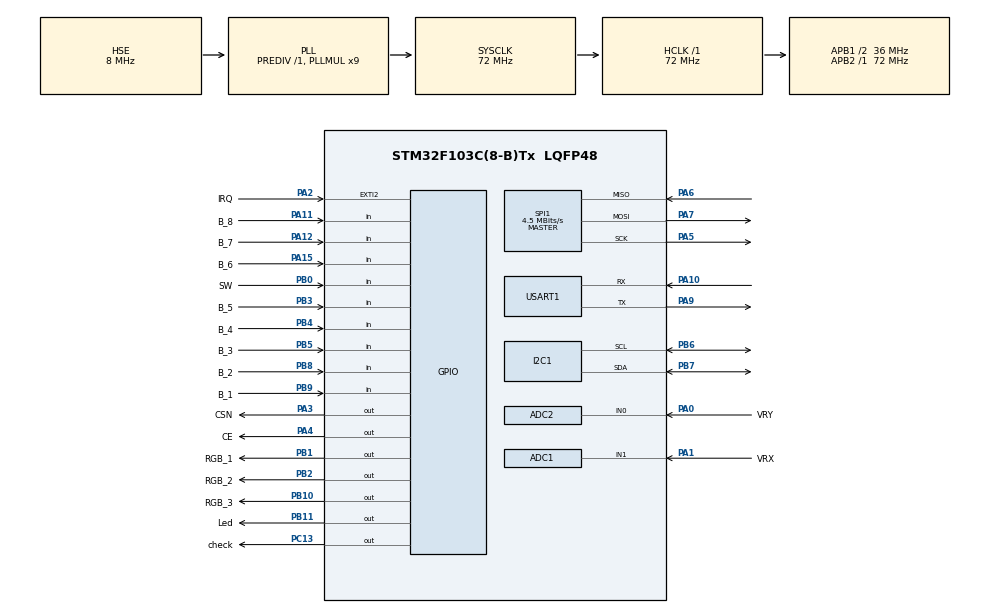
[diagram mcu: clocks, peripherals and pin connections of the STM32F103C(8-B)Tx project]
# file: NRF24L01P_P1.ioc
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ADC1.Channel-9\#ChannelRegularConversion=ADC_CHANNEL_1
ADC1.ContinuousConvMode=ENABLE
ADC1.EnableRegularConversion=ENABLE
ADC1.NbrOfConversionFlag=1
ADC1.Rank-9\#ChannelRegularConversion=1
ADC1.SamplingTime-9\#ChannelRegularConversion=ADC_SAMPLETIME_239CYCLES_5
ADC1.master=1
ADC2.Channel-0\#ChannelRegularConversion=ADC_CHANNEL_0
ADC2.NbrOfConversionFlag=1
ADC2.Rank-0\#ChannelRegularConversion=1
ADC2.SamplingTime-0\#ChannelRegularConversion=ADC_SAMPLETIME_239CYCLES_5
Mcu.Family=STM32F1
Mcu.Name=STM32F103C(8-B)Tx
Mcu.Package=LQFP48
NVIC.EXTI2_IRQn=true\:0\:0\:false\:false\:true\:true\:true\:true
NVIC.PriorityGroup=NVIC_PRIORITYGROUP_4
NVIC.USART1_IRQn=true\:0\:0\:false\:false\:true\:true\:true\:true
PA0-WKUP.GPIO_Label=VRY
PA0-WKUP.Signal=ADCx_IN0
PA1.GPIO_Label=VRX
PA1.Signal=ADCx_IN1
PA10.Mode=Asynchronous
PA10.Signal=USART1_RX
PA11.GPIO_Label=B_8
PA11.Signal=GPIO_Input
PA12.GPIO_Label=B_7
PA12.Signal=GPIO_Input
PA13.Mode=Serial_Wire
PA13.Signal=SYS_JTMS-SWDIO
PA14.Mode=Serial_Wire
PA14.Signal=SYS_JTCK-SWCLK
PA15.GPIO_Label=B_6
PA15.Signal=GPIO_Input
PA2.GPIO_Label=IRQ
PA2.GPIO_ModeDefaultEXTI=GPIO_MODE_IT_FALLING
PA2.GPIO_PuPd=GPIO_PULLUP
PA2.Signal=GPXTI2
PA3.GPIO_Label=CSN
PA3.GPIO_PuPd=GPIO_PULLUP
PA3.GPIO_Speed=GPIO_SPEED_FREQ_HIGH
PA3.PinState=GPIO_PIN_SET
PA3.Signal=GPIO_Output
PA4.GPIO_Label=CE
PA4.GPIO_PuPd=GPIO_PULLDOWN
PA4.GPIO_Speed=GPIO_SPEED_FREQ_HIGH
PA4.Signal=GPIO_Output
PA5.Mode=Full_Duplex_Master
PA5.Signal=SPI1_SCK
PA6.Mode=Full_Duplex_Master
PA6.Signal=SPI1_MISO
PA7.Mode=Full_Duplex_Master
PA7.Signal=SPI1_MOSI
PA9.Mode=Asynchronous
PA9.Signal=USART1_TX
PB0.GPIO_Label=SW
PB0.Signal=GPIO_Input
PB1.GPIO_Label=RGB_1
PB1.Signal=GPIO_Output
PB10.GPIO_Label=RGB_3
PB10.Signal=GPIO_Output
PB11.GPIO_Label=Led
PB11.Signal=GPIO_Output
PB2.GPIO_Label=RGB_2
PB2.Signal=GPIO_Output
PB3.GPIO_Label=B_5
PB3.Signal=GPIO_Input
PB4.GPIO_Label=B_4
PB4.Signal=GPIO_Input
PB5.GPIO_Label=B_3
PB5.Signal=GPIO_Input
PB6.Mode=I2C
PB6.Signal=I2C1_SCL
PB7.Mode=I2C
PB7.Signal=I2C1_SDA
PB8.GPIO_Label=B_2
PB8.Signal=GPIO_Input
PB9.GPIO_Label=B_1
PB9.Signal=GPIO_Input
PC13-TAMPER-RTC.GPIO_Label=check
PC13-TAMPER-RTC.Signal=GPIO_Output
PD0-OSC_IN.Mode=HSE-External-Oscillator
PD0-OSC_IN.Signal=RCC_OSC_IN
PD1-OSC_OUT.Mode=HSE-External-Oscillator
PD1-OSC_OUT.Signal=RCC_OSC_OUT
ProjectManager.HeapSize=0x200
ProjectManager.StackSize=0x400
ProjectManager.TargetToolchain=STM32CubeIDE
RCC.ADCPresc=RCC_ADCPCLK2_DIV6
RCC.AHBFreq_Value=72000000
RCC.APB1CLKDivider=RCC_HCLK_DIV2
RCC.APB1Freq_Value=36000000
RCC.APB1TimFreq_Value=72000000
RCC.APB2Freq_Value=72000000
RCC.APB2TimFreq_Value=72000000
RCC.HCLKFreq_Value=72000000
RCC.PLLMUL=RCC_PLL_MUL9
RCC.PLLSourceVirtual=RCC_PLLSOURCE_HSE
RCC.SYSCLKFreq_VALUE=72000000
RCC.SYSCLKSource=RCC_SYSCLKSOURCE_PLLCLK
RCC.USBFreq_Value=72000000
SH.ADCx_IN0.0=ADC2_IN0,IN0
SH.ADCx_IN1.0=ADC1_IN1,IN1
SPI1.BaudRatePrescaler=SPI_BAUDRATEPRESCALER_16
SPI1.CalculateBaudRate=4.5 MBits/s
SPI1.Direction=SPI_DIRECTION_2LINES
SPI1.Mode=SPI_MODE_MASTER
SPI1.VirtualType=VM_MASTER
USART1.VirtualMode=VM_ASYNC
board=custom

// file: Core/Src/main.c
/* USER CODE BEGIN Header */
/**
 ******************************************************************************
 * @file           : main.c
 * @brief          : Main program body
 * author          : Nhan cho dien, dien vi yeu em
 ******************************************************************************
 * @attention
 *
 * Copyright (c) 2023 STMicroelectronics.
 * All rights reserved.
 *
 * This software is licensed under terms that can be found in the LICENSE file
 * in the root directory of this software component.
 * If no LICENSE file comes with this software, it is provided AS-IS.
 *
 ******************************************************************************
 */
/* USER CODE END Header */
#include "main.h"

/* USER CODE BEGIN Includes */
#include "nrf24l01p.h"
#include "uart.h"
#include "stdio.h"
#include  "i2c-lcd.h"
/* USER CODE END Includes */

ADC_HandleTypeDef hadc1;
ADC_HandleTypeDef hadc2;

I2C_HandleTypeDef hi2c1;

SPI_HandleTypeDef hspi1;

UART_HandleTypeDef huart1;

/* USER CODE BEGIN PV */
uint8_t nrf24l01p_rx_flag = 0;
uint8_t adc_flag = 0;
double adcVal = 0.0;

extern ring_buffer_t uart_rx;

// Value Joystick
int	  ADC_X,ADC_Y;
short temp1,temp2;
char speed='z';
char control='z';
char EN    = '0';
short counter = 0;
short buttonStates[10] = {1,0,0,0,0,0,0,0,0,0};
short pressedButton = 0;
//uint8_t address[5]={0xE7,0xE7,0xE7,0xE7,0xE7};

uint8_t P0_address[6] = "node0";
uint8_t P1_address[6] = "node1";

uint8_t rx_data[NRF24L01P_PAYLOAD_LENGTH] = { 0 };
uint8_t tx_data[NRF24L01P_PAYLOAD_LENGTH] = { 0 };
/* USER CODE END PV */

void SystemClock_Config(void);
static void MX_GPIO_Init(void);
static void MX_SPI1_Init(void);
static void MX_USART1_UART_Init(void);
static void MX_ADC1_Init(void);
static void MX_ADC2_Init(void);
static void MX_I2C1_Init(void);
/* USER CODE BEGIN PFP */
void HAL_GPIO_EXTI_Callback(uint16_t GPIO_Pin);
/* USER CODE END PFP */

/* USER CODE BEGIN 0 */
void int_to_tx_data(float value, uint8_t* tx_data, size_t max_length) {
	    char buffer[50];
	    int length = sprintf(buffer, "%d", value); // Chuyển đổi float sang chuỗi với 2 chữ số thập phân
	    //  ?ảm bảo độ dài chuỗi không vượt quá kích thước của tx_data
	       if (length > max_length - 1) {
	           length = max_length - 1;
	       }
	       // Sao chép chuỗi sang tx_data
	       memcpy(tx_data, buffer, length);
	       tx_data[length] = '  ';  // Thêm ký tự xuống hàng
	       tx_data[length + 1] = '\0'; //  ?ảm bảo kết thúc bằng ký tự null
	}

// Hàm doc nut nhan
char butt = 48;
void int_to_string(int number, char* buffer) {
    sprintf(buffer, "%d", number);   // Ham chuyen int sang string
}
void uint8_to_string(uint8_t number, char* str) {
    // Chuyển đổi uint8_t thành chuỗi và lưu vào str
    snprintf(str, "%u", number);
}
void readButtons()
{
	buttonStates[1]= HAL_GPIO_ReadPin(B_1_GPIO_Port, B_1_Pin);
	buttonStates[2]= HAL_GPIO_ReadPin(B_2_GPIO_Port, B_2_Pin);
	buttonStates[3]= HAL_GPIO_ReadPin(B_3_GPIO_Port, B_3_Pin);
	buttonStates[4]= HAL_GPIO_ReadPin(B_4_GPIO_Port, B_4_Pin);
	buttonStates[5]= HAL_GPIO_ReadPin(B_5_GPIO_Port, B_5_Pin);
	buttonStates[6]= HAL_GPIO_ReadPin(B_6_GPIO_Port, B_6_Pin);
	buttonStates[7]= HAL_GPIO_ReadPin(B_7_GPIO_Port, B_7_Pin);
	buttonStates[8]= HAL_GPIO_ReadPin(B_8_GPIO_Port, B_8_Pin);
//	buttonStates[9]= !HAL_GPIO_ReadPin(SW_GPIO_Port, SW_Pin);
    for (int i = 8; i >= 0; i--) {
        if (buttonStates[i] == 0) {
        	pressedButton = i;
            break;
        }
        else
        	pressedButton = 0;
    }

    switch (pressedButton)
		{
    case 1:
    		butt = 49;
    		break;
    case 2:
    		butt = 50;
    		break;
    case 3:
    		butt = 51;
    		break;
    case 4:
    		butt = 52;
    		break;
    case 5:
    		butt = 53;
    		break;
    case 6:
    		butt = 54;
    		break;
    case 7:
    		butt = 55;
    		break;
    case 8:
    		butt = 56;
    		break;
    case 9:
    		butt = 57;
    		break;
    default:
    	    butt = 48;
    	    break;
		}
	lcd_put_cur(1,6);
	lcd_send_data (butt);
}
// Hàm đoc Joystick
void ReadJoystic(){
			HAL_ADC_Start(&hadc1);
			HAL_ADC_PollForConversion (&hadc1, 10);
			ADC_X = HAL_ADC_GetValue(&hadc1) ;
			HAL_ADC_Start(&hadc2);
			HAL_ADC_PollForConversion (&hadc2, 10);
			ADC_Y = HAL_ADC_GetValue(&hadc2);
}
void  find_speed(short temp)
{
	switch ( temp ){
	case 0 :
			speed = '0';
			break;
	case 1 :
			speed = '1';
			break;
	case 2 :
			speed = '2';
			break;
	case 3 :
			speed = '3';
			break;
	case 4 :
			speed = '4';
			break;
	case 5 :
			speed = '5';
			break;
	case 6 :
			speed = '6';
			break;
	case 7 :
			speed = '7';
			break;
	case 8 :
			speed = '8';
			break;
	default:
			break;
	}
}
void  controler(short x,short y,char butt)
{
	if ( (x <= 1 && x >= -1 ) & ( y >= 2 || y <= -2) ){
		if( y >= 2 )

			control = 'D';
		if( y <= -2)
			control = 'A';
	}
	else if ( (y <= 1 && y >= -1 ) & ( x >= 2 || x <= -2) ){
		if( x >= 2 )
		control = 'W';
		if( x <= -2)
			control = 'S';

	}
	else if ( butt == 49 )
		control = 'R';
	else if ( butt == 50 )
		control = 'L';
	else
		control = 'n';
}
void  driver(int temp1,int temp2){
	char text[1];
	short temp;
	temp1=(temp1/ 4096.0)*24 - 7; // VarX
	temp2=(temp2/ 4096.0)*24 - 7; // VarY
	controler(temp1,temp2,butt);
	temp1=abs(temp1);
	temp2=abs(temp2);
	temp = temp1 ;
	if ( temp1 < temp2)
		temp = temp2;  // chuan hóa tôc đô
	find_speed(temp);  //
	int_to_string(temp,text);
	lcd_put_cur(0,0);
	lcd_send_string("Speed:");
	lcd_send_string(text);
	lcd_put_cur(0,8);
	lcd_send_string("Move:");
	lcd_send_data(control);
}

void led(short R,short G,short B)
{
	HAL_GPIO_WritePin(RGB_1_GPIO_Port, RGB_1_Pin, R);
	HAL_GPIO_WritePin(RGB_3_GPIO_Port, RGB_3_Pin, G);
}

// Hàm nhan tín hieu RF
void read_nRF(){// Hàm Nhận RF
 		if (nrf24l01p_rx_flag == 1) {
			nrf24l01p_rx_flag =0;
			uint8_t stat = read_register(NRF24L01P_REG_CONFIG);
			if (!(stat & (1 << 0))) {
				nrf24l01p_prx_mode();
			}
			//nrf24l01p_flush_rx_fifo();
			nrf24l01p_rx_receive(rx_data);
			HAL_UART_Transmit(&huart1, rx_data, sizeof(rx_data), 500);
			lcd_put_cur(1,11);
			lcd_send_data (rx_data[0]);

	   	    if(rx_data[0] == 'N') // Nếu có vật cản thì sáng đèn
	   	    	led(0,0,0);
	   	    else
	   	    	led(1,1,1);
		}
}

// Hàm truyen tin hieu RF
void trans(){
	memset(tx_data, 0, sizeof(tx_data));
	int num = 0;
// Ham kiem tra bang UART
	if (num = uart_available(&uart_rx)) {
		nrf24l01p_ptx_mode();

		for (int i = 0; i < num; i++) {

			int ch = pop(&uart_rx);
			if (ch != -1) {
				tx_data[i] = ch;
			}
		}
	nrf24l01p_flush_tx_fifo();
   	nrf24l01p_tx_transmit(tx_data);
		HAL_Delay(50);
		nrf24l01p_prx_mode();
		//nrf24l01p_rx_init(2500, _1Mbps, P0_address);
	}

}
void trans_nRF(){ // Hàm truyền RF
	memset(tx_data, 0, sizeof(tx_data));
	int num = 0;
// Sent Func
//	if (num = uart_available(&uart_rx)) {
	if (1) {
		nrf24l01p_ptx_mode();
		for (int i = 0; i < num; i++) {
			int ch = pop(&uart_rx);
			if (ch != -1) {
				tx_data[i] = ch;
			}
		}
		tx_data[0]=control;
		tx_data[1]=speed;
		tx_data[2]=butt;
		tx_data[3]=EN;
	    nrf24l01p_flush_tx_fifo();
   	    nrf24l01p_tx_transmit(tx_data);
		HAL_Delay(50);
		nrf24l01p_prx_mode();
		//nrf24l01p_rx_init(2500, _1Mbps, P0_address);
		nrf24l01p_flush_tx_fifo();
	}

}

/* USER CODE END 0 */

int main(void)
{

  /* MCU Configuration--------------------------------------------------------*/

  /* Reset of all peripherals, Initializes the Flash interface and the Systick. */
  HAL_Init();

  /* Configure the system clock */
  SystemClock_Config();

  /* Initialize all configured peripherals */
  MX_GPIO_Init();
  MX_SPI1_Init();
  MX_USART1_UART_Init();
  MX_ADC1_Init();
  MX_ADC2_Init();
  MX_I2C1_Init();
  /* USER CODE BEGIN 2 */

// LCD --------------------------------------------------------------------------
    lcd_init();
  	lcd_clear();
// --------------------------------------------------------------------------

	nrf24l01p_rx_init(2500, _1Mbps, P1_address, P0_address);  // Hàm gọi kênh
	rxBufferInit(&uart_rx);

	/* Enable the UART Error Interrupt: (Frame error, noise error, overrun error) */
	__HAL_UART_ENABLE_IT(&huart1, UART_IT_ERR);

	/* Enable the UART Data Register not empty Interrupt */
	__HAL_UART_ENABLE_IT(&huart1, UART_IT_RXNE);

	HAL_ADC_Start(&hadc1);

  /* USER CODE END 2 */

  /* Infinite loop */
	while (1) {

    /* USER CODE BEGIN 3 */

		ReadJoystic(); // read analog from joystic
		readButtons();
		driver(ADC_X,ADC_Y);

		if ( counter == 10)
				EN = '1';

		read_nRF();  	// Rx
		trans_nRF(); 	// Tx

		counter++;
		if ( counter == 11)
			{
			 EN = '0';
			 counter = 0;
			}

		/*

		 memset(tx_data, 0, sizeof(tx_data));

		 uint8_t stat = read_register(NRF24L01P_REG_CONFIG);
		 if ((stat & (1 << 0))) {

		 nrf24l01p_ptx_mode();
		 //nrf24l01p_tx_init(2500, _1Mbps, P0_address);
		 }

		 //nrf24l01p_tx_init(2500, _1Mbps, P0_address);
		 HAL_ADC_PollForConversion(&hadc1, HAL_MAX_DELAY);
		 adcVal = HAL_ADC_GetValue(&hadc1);

		 sprintf(tx_data, "%.2f\n", adcVal);

		 nrf24l01p_flush_tx_fifo();

		 nrf24l01p_tx_transmit(tx_data);
		 HAL_Delay(10);
		 nrf24l01p_prx_mode();
		 */

		HAL_Delay(30);
	}
  /* USER CODE END 3 */
}

void SystemClock_Config(void)
{
  RCC_OscInitTypeDef RCC_OscInitStruct = {0};
  RCC_ClkInitTypeDef RCC_ClkInitStruct = {0};
  RCC_PeriphCLKInitTypeDef PeriphClkInit = {0};

  /** Initializes the RCC Oscillators according to the specified parameters
  * in the RCC_OscInitTypeDef structure.
  */
  RCC_OscInitStruct.OscillatorType = RCC_OSCILLATORTYPE_HSE;
  RCC_OscInitStruct.HSEState = RCC_HSE_ON;
  RCC_OscInitStruct.HSEPredivValue = RCC_HSE_PREDIV_DIV1;
  RCC_OscInitStruct.HSIState = RCC_HSI_ON;
  RCC_OscInitStruct.PLL.PLLState = RCC_PLL_ON;
  RCC_OscInitStruct.PLL.PLLSource = RCC_PLLSOURCE_HSE;
  RCC_OscInitStruct.PLL.PLLMUL = RCC_PLL_MUL9;
  if (HAL_RCC_OscConfig(&RCC_OscInitStruct) != HAL_OK)
  {
    Error_Handler();
  }

  /** Initializes the CPU, AHB and APB buses clocks
  */
  RCC_ClkInitStruct.ClockType = RCC_CLOCKTYPE_HCLK|RCC_CLOCKTYPE_SYSCLK
                              |RCC_CLOCKTYPE_PCLK1|RCC_CLOCKTYPE_PCLK2;
  RCC_ClkInitStruct.SYSCLKSource = RCC_SYSCLKSOURCE_PLLCLK;
  RCC_ClkInitStruct.AHBCLKDivider = RCC_SYSCLK_DIV1;
  RCC_ClkInitStruct.APB1CLKDivider = RCC_HCLK_DIV2;
  RCC_ClkInitStruct.APB2CLKDivider = RCC_HCLK_DIV1;

  if (HAL_RCC_ClockConfig(&RCC_ClkInitStruct, FLASH_LATENCY_2) != HAL_OK)
  {
    Error_Handler();
  }
  PeriphClkInit.PeriphClockSelection = RCC_PERIPHCLK_ADC;
  PeriphClkInit.AdcClockSelection = RCC_ADCPCLK2_DIV6;
  if (HAL_RCCEx_PeriphCLKConfig(&PeriphClkInit) != HAL_OK)
  {
    Error_Handler();
  }
}

static void MX_ADC1_Init(void)
{

  ADC_ChannelConfTypeDef sConfig = {0};

  /** Common config
  */
  hadc1.Instance = ADC1;
  hadc1.Init.ScanConvMode = ADC_SCAN_DISABLE;
  hadc1.Init.ContinuousConvMode = ENABLE;
  hadc1.Init.DiscontinuousConvMode = DISABLE;
  hadc1.Init.ExternalTrigConv = ADC_SOFTWARE_START;
  hadc1.Init.DataAlign = ADC_DATAALIGN_RIGHT;
  hadc1.Init.NbrOfConversion = 1;
  if (HAL_ADC_Init(&hadc1) != HAL_OK)
  {
    Error_Handler();
  }

  /** Configure Regular Channel
  */
  sConfig.Channel = ADC_CHANNEL_1;
  sConfig.Rank = ADC_REGULAR_RANK_1;
  sConfig.SamplingTime = ADC_SAMPLETIME_239CYCLES_5;
  if (HAL_ADC_ConfigChannel(&hadc1, &sConfig) != HAL_OK)
  {
    Error_Handler();
  }

}

static void MX_ADC2_Init(void)
{

  ADC_ChannelConfTypeDef sConfig = {0};

  /** Common config
  */
  hadc2.Instance = ADC2;
  hadc2.Init.ScanConvMode = ADC_SCAN_DISABLE;
  hadc2.Init.ContinuousConvMode = DISABLE;
  hadc2.Init.DiscontinuousConvMode = DISABLE;
  hadc2.Init.ExternalTrigConv = ADC_SOFTWARE_START;
  hadc2.Init.DataAlign = ADC_DATAALIGN_RIGHT;
  hadc2.Init.NbrOfConversion = 1;
  if (HAL_ADC_Init(&hadc2) != HAL_OK)
  {
    Error_Handler();
  }

  /** Configure Regular Channel
  */
  sConfig.Channel = ADC_CHANNEL_0;
  sConfig.Rank = ADC_REGULAR_RANK_1;
  sConfig.SamplingTime = ADC_SAMPLETIME_239CYCLES_5;
  if (HAL_ADC_ConfigChannel(&hadc2, &sConfig) != HAL_OK)
  {
    Error_Handler();
  }

}

static void MX_I2C1_Init(void)
{

  hi2c1.Instance = I2C1;
  hi2c1.Init.ClockSpeed = 100000;
  hi2c1.Init.DutyCycle = I2C_DUTYCYCLE_2;
  hi2c1.Init.OwnAddress1 = 0;
  hi2c1.Init.AddressingMode = I2C_ADDRESSINGMODE_7BIT;
  hi2c1.Init.DualAddressMode = I2C_DUALADDRESS_DISABLE;
  hi2c1.Init.OwnAddress2 = 0;
  hi2c1.Init.GeneralCallMode = I2C_GENERALCALL_DISABLE;
  hi2c1.Init.NoStretchMode = I2C_NOSTRETCH_DISABLE;
  if (HAL_I2C_Init(&hi2c1) != HAL_OK)
  {
    Error_Handler();
  }

}

static void MX_SPI1_Init(void)
{

  /* SPI1 parameter configuration*/
  hspi1.Instance = SPI1;
  hspi1.Init.Mode = SPI_MODE_MASTER;
  hspi1.Init.Direction = SPI_DIRECTION_2LINES;
  hspi1.Init.DataSize = SPI_DATASIZE_8BIT;
  hspi1.Init.CLKPolarity = SPI_POLARITY_LOW;
  hspi1.Init.CLKPhase = SPI_PHASE_1EDGE;
  hspi1.Init.NSS = SPI_NSS_SOFT;
  hspi1.Init.BaudRatePrescaler = SPI_BAUDRATEPRESCALER_16;
  hspi1.Init.FirstBit = SPI_FIRSTBIT_MSB;
  hspi1.Init.TIMode = SPI_TIMODE_DISABLE;
  hspi1.Init.CRCCalculation = SPI_CRCCALCULATION_DISABLE;
  hspi1.Init.CRCPolynomial = 10;
  if (HAL_SPI_Init(&hspi1) != HAL_OK)
  {
    Error_Handler();
  }

}

static void MX_USART1_UART_Init(void)
{

  huart1.Instance = USART1;
  huart1.Init.BaudRate = 115200;
  huart1.Init.WordLength = UART_WORDLENGTH_8B;
  huart1.Init.StopBits = UART_STOPBITS_1;
  huart1.Init.Parity = UART_PARITY_NONE;
  huart1.Init.Mode = UART_MODE_TX_RX;
  huart1.Init.HwFlowCtl = UART_HWCONTROL_NONE;
  huart1.Init.OverSampling = UART_OVERSAMPLING_16;
  if (HAL_UART_Init(&huart1) != HAL_OK)
  {
    Error_Handler();
  }

}

static void MX_GPIO_Init(void)
{
  GPIO_InitTypeDef GPIO_InitStruct = {0};

  /* GPIO Ports Clock Enable */
  __HAL_RCC_GPIOC_CLK_ENABLE();
  __HAL_RCC_GPIOD_CLK_ENABLE();
  __HAL_RCC_GPIOA_CLK_ENABLE();
  __HAL_RCC_GPIOB_CLK_ENABLE();

  /*Configure GPIO pin Output Level */
  HAL_GPIO_WritePin(check_GPIO_Port, check_Pin, GPIO_PIN_RESET);

  /*Configure GPIO pin Output Level */
  HAL_GPIO_WritePin(CSN_GPIO_Port, CSN_Pin, GPIO_PIN_SET);

  /*Configure GPIO pin Output Level */
  HAL_GPIO_WritePin(CE_GPIO_Port, CE_Pin, GPIO_PIN_RESET);

  /*Configure GPIO pin Output Level */
  HAL_GPIO_WritePin(GPIOB, RGB_1_Pin|RGB_2_Pin|RGB_3_Pin|Led_Pin, GPIO_PIN_RESET);

  /*Configure GPIO pin : check_Pin */
  GPIO_InitStruct.Pin = check_Pin;
  GPIO_InitStruct.Mode = GPIO_MODE_OUTPUT_PP;
  GPIO_InitStruct.Pull = GPIO_NOPULL;
  GPIO_InitStruct.Speed = GPIO_SPEED_FREQ_LOW;
  HAL_GPIO_Init(check_GPIO_Port, &GPIO_InitStruct);

  /*Configure GPIO pin : IRQ_Pin */
  GPIO_InitStruct.Pin = IRQ_Pin;
  GPIO_InitStruct.Mode = GPIO_MODE_IT_FALLING;
  GPIO_InitStruct.Pull = GPIO_PULLUP;
  HAL_GPIO_Init(IRQ_GPIO_Port, &GPIO_InitStruct);

  /*Configure GPIO pin : CSN_Pin */
  GPIO_InitStruct.Pin = CSN_Pin;
  GPIO_InitStruct.Mode = GPIO_MODE_OUTPUT_PP;
  GPIO_InitStruct.Pull = GPIO_PULLUP;
  GPIO_InitStruct.Speed = GPIO_SPEED_FREQ_HIGH;
  HAL_GPIO_Init(CSN_GPIO_Port, &GPIO_InitStruct);

  /*Configure GPIO pin : CE_Pin */
  GPIO_InitStruct.Pin = CE_Pin;
  GPIO_InitStruct.Mode = GPIO_MODE_OUTPUT_PP;
  GPIO_InitStruct.Pull = GPIO_PULLDOWN;
  GPIO_InitStruct.Speed = GPIO_SPEED_FREQ_HIGH;
  HAL_GPIO_Init(CE_GPIO_Port, &GPIO_InitStruct);

  /*Configure GPIO pins : SW_Pin B_5_Pin B_4_Pin B_3_Pin
                           B_2_Pin B_1_Pin */
  GPIO_InitStruct.Pin = SW_Pin|B_5_Pin|B_4_Pin|B_3_Pin
                          |B_2_Pin|B_1_Pin;
  GPIO_InitStruct.Mode = GPIO_MODE_INPUT;
  GPIO_InitStruct.Pull = GPIO_NOPULL;
  HAL_GPIO_Init(GPIOB, &GPIO_InitStruct);

  /*Configure GPIO pins : RGB_1_Pin RGB_2_Pin RGB_3_Pin Led_Pin */
  GPIO_InitStruct.Pin = RGB_1_Pin|RGB_2_Pin|RGB_3_Pin|Led_Pin;
  GPIO_InitStruct.Mode = GPIO_MODE_OUTPUT_PP;
  GPIO_InitStruct.Pull = GPIO_NOPULL;
  GPIO_InitStruct.Speed = GPIO_SPEED_FREQ_LOW;
  HAL_GPIO_Init(GPIOB, &GPIO_InitStruct);

  /*Configure GPIO pins : B_8_Pin B_7_Pin B_6_Pin */
  GPIO_InitStruct.Pin = B_8_Pin|B_7_Pin|B_6_Pin;
  GPIO_InitStruct.Mode = GPIO_MODE_INPUT;
  GPIO_InitStruct.Pull = GPIO_NOPULL;
  HAL_GPIO_Init(GPIOA, &GPIO_InitStruct);

  /* EXTI interrupt init*/
  HAL_NVIC_SetPriority(EXTI2_IRQn, 0, 0);
  HAL_NVIC_EnableIRQ(EXTI2_IRQn);

}

/* USER CODE BEGIN 4 */
void HAL_GPIO_EXTI_Callback(uint16_t GPIO_Pin) {
	if (GPIO_Pin == NRF24L01P_IRQ_PIN_NUMBER) {
		nrf24l01p_rx_flag = 1;
	}

}
/*
 void HAL_TIM_OC_DelayElapsedCallback(TIM_HandleTypeDef *htim)
 {
 adc_flag=1;
 HAL_ADC_PollForConversion(&hadc1,HAL_MAX_DELAY);
 adcVal = HAL_ADC_GetValue(&hadc1);
 sprintf(tx_data,"adc_val: %f\n",adcVal);

 //HAL_ADC_Stop(&hadc1);

 }
 */
/* USER CODE END 4 */

void Error_Handler(void)
{
	__disable_irq();
	while (1) {
	}
}
